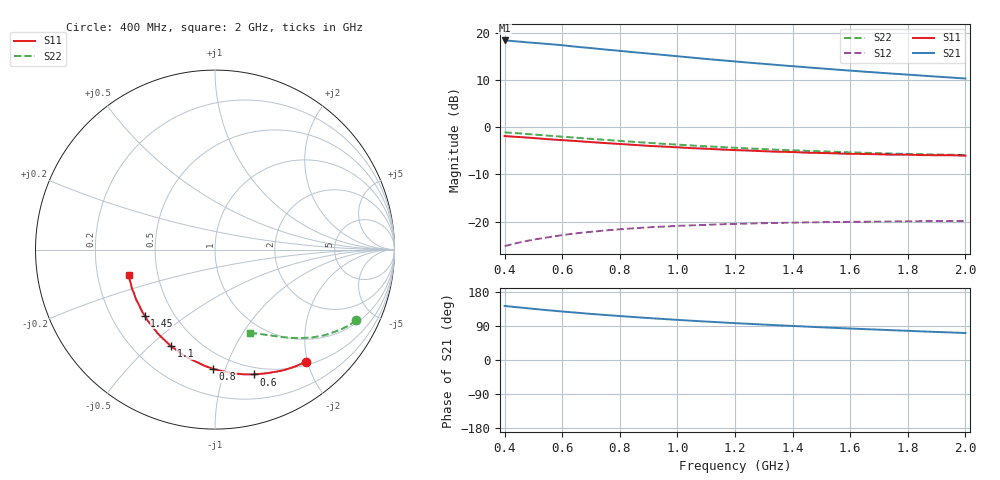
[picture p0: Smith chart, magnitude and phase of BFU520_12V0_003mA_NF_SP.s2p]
! Filename:  P:\Prog\Test\Noise\ATS_data\Testdata_Net\06 Compressed Noise after Statistics\BFU520_APG2013_37_A05_12p0V_003mA_NF_CM01_D.sf
! Date/Time: Fri 26/Apr/2013 14:13:13
! BFU520_APG2013_37_A05_12p0V_1to20mA_NF_CM01_Bias3_R.sf
! Noise Parameter Data File
! BFU520_APG2013_37_A05_12p0V_1to20mA_NF_CM01
! Date/time: Tue Apr 23 19:55:39 2013
! VAR V_out= 12.001000
! VAR I_out= 3.005000
! VAR V_in= 0.806600
! VAR I_in= 0.027610
! Device data file deembeded for feedlines and parallel
! Original file: \06 Compressed Noise after Statistics\BFU520_APG2013_37_A05_12p0V_003mA_NF_CM01_R.sf
! Feed-files: PR047V01_250413_Feed1.s2p, PR047V01_250413_Feed2.s2p
! Parallel-file: PR047V01_250413_Par.s2p
# MHz S MA R 50
!  Freq-MHz  S11-mag  S11-arg  S21-mag  S21-arg  S12-mag  S12-arg  S22-mag  S22-arg
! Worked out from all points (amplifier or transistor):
!   37 points, 400 MHz to 2 GHz, reference 50 ohm
!   highest |S21| = 18.3 dB at 400 MHz (marker M1)
!   |S21| within 3 dB of that: start of sweep to 940.5 MHz
!   unconditionally stable (mu >= 1): nowhere
!   at 500 MHz: K = 0.21, MSG = 20.8 dB, |S12| = -23.8 dB
!   at 1.1 GHz: K = 0.44, MSG = 17.5 dB, |S12| = -20.7 dB
!   at 2 GHz: K = 0.79, MSG = 15.1 dB, |S12| = -19.9 dB
!   lowest NFmin = 0.61 dB at 420 MHz
!   S11 on the Smith chart (normalised r, x): 400 MHz: 0.56, -1.98; 600 MHz: 0.43, -1.27; 800 MHz: 0.38, -0.90; 1.1 GHz: 0.35, -0.59; 1.45 GHz: 0.34, -0.36; 2 GHz: 0.34, -0.13
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400  0.8049 -50.8  8.251 142.7  0.05513 61.1  0.88 -26.6
440  0.79 -55.4  8.078 139.5  0.05919 58.9  0.8632 -28.8
480  0.7753 -59.7  7.868 136.6  0.06284 56.7  0.8448 -30.8
500  0.7667 -62.0  7.795 135.1  0.06461 55.7  0.8365 -31.7
550  0.746 -67.5  7.573 131.3  0.0684 53.2  0.8127 -34.1
600  0.7287 -72.6  7.347 128.0  0.07215 51.0  0.7927 -36.2
650  0.7124 -77.3  7.072 124.9  0.07548 48.9  0.7723 -38.2
700  0.6945 -82.2  6.856 121.7  0.07816 47.0  0.7518 -40.0
750  0.6784 -86.6  6.61 118.8  0.08087 45.2  0.7338 -41.8
800  0.664 -91.1  6.404 116.0  0.08315 43.6  0.7145 -43.3
900  0.6338 -99.5  5.995 110.7  0.08725 40.7  0.6829 -46.3
950  0.6231 -103.5  5.806 108.3  0.08877 39.4  0.6664 -47.6
1050  0.5995 -111.0  5.436 103.6  0.09152 37.1  0.6393 -50.2
1100  0.5915 -114.5  5.259 101.5  0.09268 36.2  0.627 -51.2
1200  0.5716 -121.5  4.951 97.2  0.09479 34.3  0.6047 -53.5
1300  0.5559 -127.7  4.669 93.5  0.09647 32.9  0.5857 -55.4
1450  0.537 -136.8  4.29 88.0  0.09839 31.1  0.5614 -58.1
1500  0.5331 -139.5  4.172 86.3  0.09883 30.6  0.5545 -59.0
1600  0.522 -145.0  3.958 83.0  0.09961 29.8  0.541 -60.8
1750  0.5115 -152.6  3.672 78.4  0.1007 28.9  0.5247 -63.1
1850  0.5066 -157.3  3.504 75.4  0.1014 28.5  0.5176 -64.7
2000  0.4997 -163.9  3.267 71.2  0.1016 28.2  0.5063 -67.1
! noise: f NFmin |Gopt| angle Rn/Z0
400  0.6934  0.3618  20.03  0.1778
460  0.6392  0.333  22.49  0.1653
600  0.6912  0.372  27.92  0.1779
800  0.7193  0.3393  41.6  0.1576
1000  0.7564  0.3439  53.21  0.1486
1200  0.7948  0.3442  62.14  0.1468
1400  0.8042  0.3372  74.65  0.1303
1600  0.8417  0.2875  85.82  0.1243
1800  0.741  0.3162  100.5  0.1027
2000  0.9311  0.3014  108.9  0.1167
